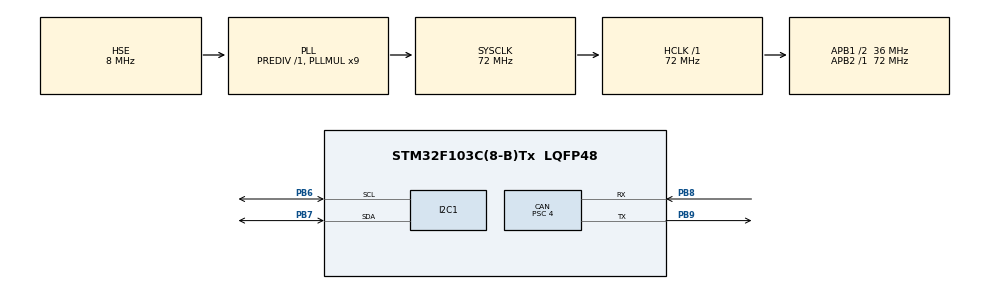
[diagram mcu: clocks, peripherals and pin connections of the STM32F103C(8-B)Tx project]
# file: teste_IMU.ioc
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CAN.BS1=CAN_BS1_15TQ
CAN.BS2=CAN_BS2_2TQ
CAN.CalculateBaudRate=500000
CAN.CalculateTimeBit=2000
CAN.CalculateTimeQuantum=111.11111111111111
CAN.Prescaler=4
I2C1.I2C_Mode=I2C_Fast
Mcu.Family=STM32F1
Mcu.Name=STM32F103C(8-B)Tx
Mcu.Package=LQFP48
NVIC.I2C1_ER_IRQn=true\:0\:0\:false\:false\:true\:true\:true\:true
NVIC.I2C1_EV_IRQn=true\:0\:0\:false\:false\:true\:true\:true\:true
NVIC.PriorityGroup=NVIC_PRIORITYGROUP_4
PA13.Mode=Serial_Wire
PA13.Signal=SYS_JTMS-SWDIO
PA14.Mode=Serial_Wire
PA14.Signal=SYS_JTCK-SWCLK
PB6.Mode=I2C
PB6.Signal=I2C1_SCL
PB7.Mode=I2C
PB7.Signal=I2C1_SDA
PB8.Mode=CAN_Activate
PB8.Signal=CAN_RX
PB9.Mode=CAN_Activate
PB9.Signal=CAN_TX
PD0-OSC_IN.Mode=HSE-External-Oscillator
PD0-OSC_IN.Signal=RCC_OSC_IN
PD1-OSC_OUT.Mode=HSE-External-Oscillator
PD1-OSC_OUT.Signal=RCC_OSC_OUT
ProjectManager.HeapSize=0x200
ProjectManager.StackSize=0x400
ProjectManager.TargetToolchain=STM32CubeIDE
RCC.AHBFreq_Value=72000000
RCC.APB1CLKDivider=RCC_HCLK_DIV2
RCC.APB1Freq_Value=36000000
RCC.APB1TimFreq_Value=72000000
RCC.APB2Freq_Value=72000000
RCC.APB2TimFreq_Value=72000000
RCC.HCLKFreq_Value=72000000
RCC.PLLMUL=RCC_PLL_MUL9
RCC.PLLSourceVirtual=RCC_PLLSOURCE_HSE
RCC.SYSCLKFreq_VALUE=72000000
RCC.SYSCLKSource=RCC_SYSCLKSOURCE_PLLCLK
RCC.USBFreq_Value=72000000
board=custom

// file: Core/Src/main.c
/* USER CODE BEGIN Header */
/**
  ******************************************************************************
  * @file           : main.c
  * @brief          : Nó IMU — MPU6050/MPU9250/MPU9255 via I2C + envio CAN
  *
  * Sistema de Telemetria UFS-01B | Fórmula Route UFSCar
  *
  * Frames CAN transmitidos (Documento de Decisões Técnicas v2.0):
  *
  *   ID 0x201 | DLC 8 | accelX_H, accelX_L,
  *                       accelY_H, accelY_L,
  *                       accelZ_H, accelZ_L,
  *                       gyroX_H,  gyroX_L
  *
  *   ID 0x204 | DLC 4 | gyroY_H, gyroY_L,
  *                       gyroZ_H, gyroZ_L
  *
  * Bit rate CAN : 500 kbps  (PCLK1 = 36 MHz, Prescaler=4, BS1=15TQ, BS2=2TQ)
  * Pinos CAN    : PA11 = CAN_RX  |  PA12 = CAN_TX  (ou PB8/PB9 com remap)
  *
  * Sensor: detecta automaticamente entre MPU6050, MPU6500, MPU9250 e MPU9255
  *   I2C  : PB6 = SCL | PB7 = SDA (Fast Mode 400 kHz)
  *   Acel : ±2 g    → 16384 LSB/g
  *   Gyro : ±250°/s → 131 LSB/(°/s)
  *
  * LED de diagnóstico (PC13 = LED onboard da Blue Pill, ATIVO LOW):
  *   1 piscada  = WHO_AM_I não bate (sensor não suportado)
  *   2 piscadas = Falha de I2C (sem resposta no barramento)
  *   3 piscadas = Falha na inicialização do CAN
  *   4 piscadas = CAN TX timeout (sem ACK no barramento)
  *
  * Taxa de envio: 50 Hz (20 ms)
  ******************************************************************************
  */
/* USER CODE END Header */

#include "main.h"
#include <string.h>

/* USER CODE BEGIN PTD */

typedef enum {
    ERR_NONE       = 0,
    ERR_MPU_WHOAMI = 1,
    ERR_MPU_I2C    = 2,
    ERR_CAN_INIT   = 3,
    ERR_CAN_TX     = 4,
    ERR_HAL        = 5
} SystemError_t;

/* USER CODE END PTD */

/* USER CODE BEGIN PD */

/* ---------- MPU ---------- */
#define MPU_ADDR             (0x68 << 1)  /* Endereço 7-bit shifted          */
#define MPU_REG_WHO_AM_I     0x75
#define MPU_REG_PWR_MGMT_1   0x6B
#define MPU_REG_CONFIG       0x1A
#define MPU_REG_GYRO_CFG     0x1B
#define MPU_REG_ACCEL_CFG    0x1C
#define MPU_REG_ACCEL_OUT    0x3B   /* Burst de 14 bytes a partir daqui     */

/* WHO_AM_I aceitos */
#define MPU6050_ID           0x68
#define MPU6500_ID           0x70
#define MPU9250_ID           0x71
#define MPU9255_ID           0x73

/* ---------- CAN IDs (Documento v2.0) ---------- */
#define CAN_ID_ACCEL_GYROX   0x201
#define CAN_ID_GYRO_YZ       0x204

/* ---------- Temporização ---------- */
#define IMU_PERIOD_MS        20   /* 50 Hz                                  */
#define CAN_TX_TIMEOUT_MS    5
#define I2C_TIMEOUT_MS       10

/* ---------- LED Heartbeat (PC13 — Blue Pill onboard, ativo LOW) ---------- */
#define LED_PORT             GPIOC
#define LED_PIN              GPIO_PIN_13

/* USER CODE END PD */

CAN_HandleTypeDef hcan;
I2C_HandleTypeDef hi2c1;

/* USER CODE BEGIN PV */
static uint8_t  g_mpuType      = 0;       /* WHO_AM_I detectado             */
static uint32_t g_canTxErrors  = 0;
static uint32_t g_i2cErrors    = 0;
/* USER CODE END PV */

void SystemClock_Config(void);
static void MX_GPIO_Init(void);
static void MX_CAN_Init(void);
static void MX_I2C1_Init(void);

/* USER CODE BEGIN PFP */
static HAL_StatusTypeDef MPU_Init(void);
static HAL_StatusTypeDef MPU_ReadAll(int16_t *ax, int16_t *ay, int16_t *az,
                                     int16_t *gx, int16_t *gy, int16_t *gz);
static HAL_StatusTypeDef CAN_WaitMailbox(uint32_t timeout_ms);
static HAL_StatusTypeDef CAN_SendIMU(int16_t ax, int16_t ay, int16_t az,
                                     int16_t gx, int16_t gy, int16_t gz);
static void              ErrorBlink(SystemError_t code);
static void              LED_On(void);
static void              LED_Off(void);
static void              LED_Toggle(void);
/* USER CODE END PFP */

/* USER CODE BEGIN 0 */

/* ==========================================================================
 * LED helpers — PC13 da Blue Pill é ativo LOW (RESET = LED ON)
 * ========================================================================== */

static void LED_On(void)     { HAL_GPIO_WritePin(LED_PORT, LED_PIN, GPIO_PIN_RESET); }
static void LED_Off(void)    { HAL_GPIO_WritePin(LED_PORT, LED_PIN, GPIO_PIN_SET);   }
static void LED_Toggle(void) { HAL_GPIO_TogglePin(LED_PORT, LED_PIN);                }

/* ==========================================================================
 * MPU — Detecção e inicialização
 *
 * Aceita: 0x68 (MPU6050), 0x70 (MPU6500), 0x71 (MPU9250), 0x73 (MPU9255)
 * ========================================================================== */

static HAL_StatusTypeDef MPU_Init(void)
{
    uint8_t check, data;
    HAL_StatusTypeDef status;

    /* Lê WHO_AM_I — falha de I2C indica sensor desconectado */
    status = HAL_I2C_Mem_Read(&hi2c1, MPU_ADDR, MPU_REG_WHO_AM_I,
                              1, &check, 1, I2C_TIMEOUT_MS);
    if (status != HAL_OK) {
        return HAL_ERROR;  /* tratado externamente como ERR_MPU_I2C */
    }

    /* Verifica se o ID retornado é de um sensor suportado */
    if (check != MPU6050_ID && check != MPU6500_ID &&
        check != MPU9250_ID && check != MPU9255_ID) {
        g_mpuType = check;
        return HAL_TIMEOUT;  /* tratado externamente como ERR_MPU_WHOAMI */
    }
    g_mpuType = check;

    /* PWR_MGMT_1: sai de sleep, clock = PLL com referência Gyro X */
    data = 0x01;
    if (HAL_I2C_Mem_Write(&hi2c1, MPU_ADDR, MPU_REG_PWR_MGMT_1,
                          1, &data, 1, I2C_TIMEOUT_MS) != HAL_OK) {
        return HAL_ERROR;
    }
    HAL_Delay(100);  /* Aguarda PLL estabilizar */

    /* CONFIG: DLPF banda 41 Hz (filtra ruído de vibração) */
    data = 0x03;
    if (HAL_I2C_Mem_Write(&hi2c1, MPU_ADDR, MPU_REG_CONFIG,
                          1, &data, 1, I2C_TIMEOUT_MS) != HAL_OK) {
        return HAL_ERROR;
    }

    /* ACCEL_CONFIG: ±2g (AFS_SEL = 0) → 16384 LSB/g */
    data = 0x00;
    if (HAL_I2C_Mem_Write(&hi2c1, MPU_ADDR, MPU_REG_ACCEL_CFG,
                          1, &data, 1, I2C_TIMEOUT_MS) != HAL_OK) {
        return HAL_ERROR;
    }

    /* GYRO_CONFIG: ±250°/s (FS_SEL = 0) → 131 LSB/(°/s) */
    data = 0x00;
    if (HAL_I2C_Mem_Write(&hi2c1, MPU_ADDR, MPU_REG_GYRO_CFG,
                          1, &data, 1, I2C_TIMEOUT_MS) != HAL_OK) {
        return HAL_ERROR;
    }

    return HAL_OK;
}

/**
 * @brief Lê accel XYZ + gyro XYZ em um único burst de 14 bytes.
 *        Bytes 6-7 contêm temperatura (descartada).
 */
static HAL_StatusTypeDef MPU_ReadAll(int16_t *ax, int16_t *ay, int16_t *az,
                                     int16_t *gx, int16_t *gy, int16_t *gz)
{
    uint8_t raw[14];
    HAL_StatusTypeDef status;

    status = HAL_I2C_Mem_Read(&hi2c1, MPU_ADDR, MPU_REG_ACCEL_OUT,
                              1, raw, 14, I2C_TIMEOUT_MS);
    if (status != HAL_OK) {
        g_i2cErrors++;
        *ax = *ay = *az = 0;
        *gx = *gy = *gz = 0;
        return status;
    }

    *ax = (int16_t)((raw[0]  << 8) | raw[1]);
    *ay = (int16_t)((raw[2]  << 8) | raw[3]);
    *az = (int16_t)((raw[4]  << 8) | raw[5]);
    /* raw[6..7] = temperatura — ignorado */
    *gx = (int16_t)((raw[8]  << 8) | raw[9]);
    *gy = (int16_t)((raw[10] << 8) | raw[11]);
    *gz = (int16_t)((raw[12] << 8) | raw[13]);

    return HAL_OK;
}

/* ==========================================================================
 * CAN — Transmissão de frames 0x201 e 0x204
 * ========================================================================== */

static HAL_StatusTypeDef CAN_WaitMailbox(uint32_t timeout_ms)
{
    uint32_t start = HAL_GetTick();
    while (HAL_CAN_GetTxMailboxesFreeLevel(&hcan) == 0) {
        if ((HAL_GetTick() - start) >= timeout_ms) {
            return HAL_TIMEOUT;
        }
    }
    return HAL_OK;
}

static HAL_StatusTypeDef CAN_SendIMU(int16_t ax, int16_t ay, int16_t az,
                                     int16_t gx, int16_t gy, int16_t gz)
{
    CAN_TxHeaderTypeDef txHeader;
    uint8_t  txData[8];
    uint32_t txMailbox;

    txHeader.RTR                = CAN_RTR_DATA;
    txHeader.IDE                = CAN_ID_STD;
    txHeader.TransmitGlobalTime = DISABLE;
    txHeader.ExtId              = 0;

    /* --- Frame 0x201: Acel XYZ + Gyro X (8 bytes) --- */
    txHeader.StdId = CAN_ID_ACCEL_GYROX;
    txHeader.DLC   = 8;

    txData[0] = (uint8_t)((ax >> 8) & 0xFF);
    txData[1] = (uint8_t)( ax       & 0xFF);
    txData[2] = (uint8_t)((ay >> 8) & 0xFF);
    txData[3] = (uint8_t)( ay       & 0xFF);
    txData[4] = (uint8_t)((az >> 8) & 0xFF);
    txData[5] = (uint8_t)( az       & 0xFF);
    txData[6] = (uint8_t)((gx >> 8) & 0xFF);
    txData[7] = (uint8_t)( gx       & 0xFF);

    if (CAN_WaitMailbox(CAN_TX_TIMEOUT_MS) != HAL_OK) {
        g_canTxErrors++;
        return HAL_TIMEOUT;
    }
    if (HAL_CAN_AddTxMessage(&hcan, &txHeader, txData, &txMailbox) != HAL_OK) {
        g_canTxErrors++;
        return HAL_ERROR;
    }

    /* --- Frame 0x204: Gyro Y + Z (4 bytes) --- */
    txHeader.StdId = CAN_ID_GYRO_YZ;
    txHeader.DLC   = 4;

    txData[0] = (uint8_t)((gy >> 8) & 0xFF);
    txData[1] = (uint8_t)( gy       & 0xFF);
    txData[2] = (uint8_t)((gz >> 8) & 0xFF);
    txData[3] = (uint8_t)( gz       & 0xFF);

    if (CAN_WaitMailbox(CAN_TX_TIMEOUT_MS) != HAL_OK) {
        g_canTxErrors++;
        return HAL_TIMEOUT;
    }
    if (HAL_CAN_AddTxMessage(&hcan, &txHeader, txData, &txMailbox) != HAL_OK) {
        g_canTxErrors++;
        return HAL_ERROR;
    }

    return HAL_OK;
}

/* ==========================================================================
 * Error Handler com LED — pisca N vezes conforme código de erro
 *
 *   1 piscada  = WHO_AM_I invalido (sensor nao suportado)
 *   2 piscadas = I2C falhou (sensor nao responde / fiacao)
 *   3 piscadas = CAN init falhou
 *   4 piscadas = CAN TX timeout (sem ACK no barramento)
 *   5 piscadas = HAL generico
 *
 *   NUNCA RETORNA — é um trap de erro fatal.
 * ========================================================================== */
static void ErrorBlink(SystemError_t code)
{
    uint8_t n = (uint8_t)code;
    if (n == 0) n = 5;

    while (1) {
        for (uint8_t i = 0; i < n; i++) {
            LED_On();
            HAL_Delay(150);
            LED_Off();
            HAL_Delay(150);
        }
        HAL_Delay(1000);
    }
}

/* USER CODE END 0 */

int main(void)
{

  /* MCU Configuration--------------------------------------------------------*/
  HAL_Init();

  SystemClock_Config();

  /* Initialize all configured peripherals */
  MX_GPIO_Init();
  MX_CAN_Init();
  MX_I2C1_Init();

  /* USER CODE BEGIN 2 */

  /* LED aceso durante init */
  LED_On();

  /* Aguarda MPU completar boot interno após power-on */
  HAL_Delay(150);

  /* Inicializa MPU — trata os dois modos de falha separadamente */
  HAL_StatusTypeDef mpuStatus = MPU_Init();
  if (mpuStatus == HAL_ERROR) {
      /* I2C respondeu mas escrita/leitura falhou — fiação ou pull-ups */
      ErrorBlink(ERR_MPU_I2C);
  } else if (mpuStatus == HAL_TIMEOUT) {
      /* WHO_AM_I retornou valor desconhecido — sensor não suportado */
      ErrorBlink(ERR_MPU_WHOAMI);
  } else if (mpuStatus != HAL_OK) {
      ErrorBlink(ERR_HAL);
  }

  /* Configura filtro CAN (aceitar tudo — este nó só transmite) */
  CAN_FilterTypeDef canfilter = {0};
  canfilter.FilterBank           = 0;
  canfilter.FilterMode           = CAN_FILTERMODE_IDMASK;
  canfilter.FilterScale          = CAN_FILTERSCALE_32BIT;
  canfilter.FilterIdHigh         = 0x0000;
  canfilter.FilterIdLow          = 0x0000;
  canfilter.FilterMaskIdHigh     = 0x0000;
  canfilter.FilterMaskIdLow      = 0x0000;
  canfilter.FilterFIFOAssignment = CAN_RX_FIFO0;
  canfilter.FilterActivation     = ENABLE;
  canfilter.SlaveStartFilterBank = 14;

  if (HAL_CAN_ConfigFilter(&hcan, &canfilter) != HAL_OK) {
      ErrorBlink(ERR_CAN_INIT);
  }

  if (HAL_CAN_Start(&hcan) != HAL_OK) {
      ErrorBlink(ERR_CAN_INIT);
  }

  /* LED apaga — init OK */
  LED_Off();

  /* USER CODE END 2 */

  /* Infinite loop -----------------------------------------------------------*/
  /* USER CODE BEGIN WHILE */

  uint32_t lastTick    = HAL_GetTick();
  uint32_t ledToggleCt = 0;

  while (1)
  {
      uint32_t now = HAL_GetTick();

      /* Período de 20 ms (50 Hz) sem drift acumulado */
      if ((now - lastTick) >= IMU_PERIOD_MS)
      {
          lastTick += IMU_PERIOD_MS;

          int16_t ax, ay, az, gx, gy, gz;

          /* Lê sensores — falha envia zeros mas não trava */
          MPU_ReadAll(&ax, &ay, &az, &gx, &gy, &gz);

          /* Transmite pela CAN */
          CAN_SendIMU(ax, ay, az, gx, gy, gz);

          /* Heartbeat: toggle LED a cada 500 ms (25 ciclos de 20 ms) */
          ledToggleCt++;
          if (ledToggleCt >= 25) {
              ledToggleCt = 0;
              LED_Toggle();
          }
      }

    /* USER CODE END WHILE */
  }
}

void SystemClock_Config(void)
{
  RCC_OscInitTypeDef RCC_OscInitStruct = {0};
  RCC_ClkInitTypeDef RCC_ClkInitStruct = {0};

  RCC_OscInitStruct.OscillatorType = RCC_OSCILLATORTYPE_HSE;
  RCC_OscInitStruct.HSEState       = RCC_HSE_ON;   /* Nucleo */
  RCC_OscInitStruct.HSEPredivValue = RCC_HSE_PREDIV_DIV1;
  RCC_OscInitStruct.HSIState       = RCC_HSI_ON;
  RCC_OscInitStruct.PLL.PLLState   = RCC_PLL_ON;
  RCC_OscInitStruct.PLL.PLLSource  = RCC_PLLSOURCE_HSE;
  RCC_OscInitStruct.PLL.PLLMUL     = RCC_PLL_MUL9;
  if (HAL_RCC_OscConfig(&RCC_OscInitStruct) != HAL_OK)
  {
    Error_Handler();
  }

  RCC_ClkInitStruct.ClockType      = RCC_CLOCKTYPE_HCLK  | RCC_CLOCKTYPE_SYSCLK
                                   | RCC_CLOCKTYPE_PCLK1 | RCC_CLOCKTYPE_PCLK2;
  RCC_ClkInitStruct.SYSCLKSource   = RCC_SYSCLKSOURCE_PLLCLK;
  RCC_ClkInitStruct.AHBCLKDivider  = RCC_SYSCLK_DIV1;
  RCC_ClkInitStruct.APB1CLKDivider = RCC_HCLK_DIV2;
  RCC_ClkInitStruct.APB2CLKDivider = RCC_HCLK_DIV1;
  if (HAL_RCC_ClockConfig(&RCC_ClkInitStruct, FLASH_LATENCY_2) != HAL_OK)
  {
    Error_Handler();
  }
}

static void MX_CAN_Init(void)
{
  hcan.Instance                  = CAN1;
  hcan.Init.Prescaler            = 4;             /* 500 kbps */
  hcan.Init.Mode                 = CAN_MODE_NORMAL;
  hcan.Init.SyncJumpWidth        = CAN_SJW_1TQ;
  hcan.Init.TimeSeg1             = CAN_BS1_15TQ;
  hcan.Init.TimeSeg2             = CAN_BS2_2TQ;
  hcan.Init.TimeTriggeredMode    = DISABLE;
  hcan.Init.AutoBusOff           = ENABLE;
  hcan.Init.AutoWakeUp           = DISABLE;
  hcan.Init.AutoRetransmission   = DISABLE;
  hcan.Init.ReceiveFifoLocked    = DISABLE;
  hcan.Init.TransmitFifoPriority = DISABLE;
  if (HAL_CAN_Init(&hcan) != HAL_OK)
  {
    Error_Handler();
  }
}

static void MX_I2C1_Init(void)
{
  hi2c1.Instance             = I2C1;
  hi2c1.Init.ClockSpeed      = 400000;
  hi2c1.Init.DutyCycle       = I2C_DUTYCYCLE_2;
  hi2c1.Init.OwnAddress1     = 0;
  hi2c1.Init.AddressingMode  = I2C_ADDRESSINGMODE_7BIT;
  hi2c1.Init.DualAddressMode = I2C_DUALADDRESS_DISABLE;
  hi2c1.Init.OwnAddress2     = 0;
  hi2c1.Init.GeneralCallMode = I2C_GENERALCALL_DISABLE;
  hi2c1.Init.NoStretchMode   = I2C_NOSTRETCH_DISABLE;
  if (HAL_I2C_Init(&hi2c1) != HAL_OK)
  {
    Error_Handler();
  }
}

static void MX_GPIO_Init(void)
{
  GPIO_InitTypeDef GPIO_InitStruct = {0};

  /* GPIO Ports Clock Enable */
  __HAL_RCC_GPIOC_CLK_ENABLE();
  __HAL_RCC_GPIOD_CLK_ENABLE();
  __HAL_RCC_GPIOA_CLK_ENABLE();
  __HAL_RCC_GPIOB_CLK_ENABLE();

  /* PC13 = LED onboard (ativo LOW). Inicia desligado (HIGH). */
  HAL_GPIO_WritePin(LED_PORT, LED_PIN, GPIO_PIN_SET);

  GPIO_InitStruct.Pin   = LED_PIN;
  GPIO_InitStruct.Mode  = GPIO_MODE_OUTPUT_PP;
  GPIO_InitStruct.Pull  = GPIO_NOPULL;
  GPIO_InitStruct.Speed = GPIO_SPEED_FREQ_LOW;
  HAL_GPIO_Init(LED_PORT, &GPIO_InitStruct);
}

void Error_Handler(void)
{
  __disable_irq();
  ErrorBlink(ERR_HAL);
}
